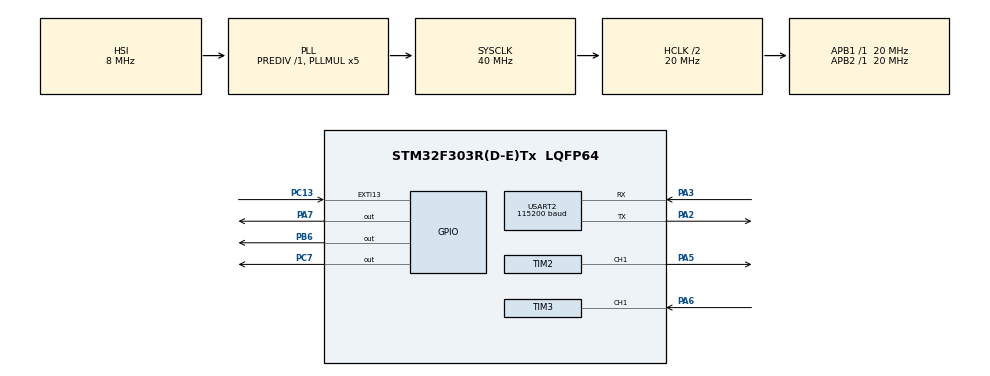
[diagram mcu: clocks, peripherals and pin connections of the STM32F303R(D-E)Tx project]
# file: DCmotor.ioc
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Mcu.Family=STM32F3
Mcu.Name=STM32F303R(D-E)Tx
Mcu.Package=LQFP64
NVIC.PriorityGroup=NVIC_PRIORITYGROUP_0
NVIC.TIM3_IRQn=true\:0\:0\:false\:false\:true\:true\:true
PA13.Mode=Serial_Wire
PA13.Signal=SYS_JTMS-SWDIO
PA14.Mode=Serial_Wire
PA14.Signal=SYS_JTCK-SWCLK
PA2.GPIO_Mode=GPIO_MODE_AF_PP
PA2.GPIO_ModeDefaultPP=GPIO_MODE_AF_PP
PA2.GPIO_PuPd=GPIO_NOPULL
PA2.GPIO_Speed=GPIO_SPEED_FREQ_HIGH
PA2.Mode=Asynchronous
PA2.Signal=USART2_TX
PA3.GPIO_Mode=GPIO_MODE_AF_PP
PA3.GPIO_ModeDefaultPP=GPIO_MODE_AF_PP
PA3.GPIO_PuPd=GPIO_NOPULL
PA3.GPIO_Speed=GPIO_SPEED_FREQ_HIGH
PA3.Mode=Asynchronous
PA3.Signal=USART2_RX
PA5.Signal=S_TIM2_CH1_ETR
PA6.Signal=S_TIM3_CH1
PA7.Signal=GPIO_Output
PB3.Signal=SYS_JTDO-TRACESWO
PB6.Signal=GPIO_Output
PC13.GPIO_ModeDefaultEXTI=GPIO_MODE_IT_RISING
PC13.GPIO_PuPd=GPIO_NOPULL
PC13.Signal=GPXTI13
PC14-OSC32_IN.Mode=LSE-External-Oscillator
PC14-OSC32_IN.Signal=RCC_OSC32_IN
PC15-OSC32_OUT.Mode=LSE-External-Oscillator
PC15-OSC32_OUT.Signal=RCC_OSC32_OUT
PC7.Signal=GPIO_Output
PF0-OSC_IN.Mode=HSE-External-Clock-Source
PF0-OSC_IN.Signal=RCC_OSC_IN
PF1-OSC_OUT.Signal=RCC_OSC_OUT
ProjectManager.HeapSize=0x200
ProjectManager.StackSize=0x400
ProjectManager.TargetToolchain=STM32CubeIDE
RCC.AHBCLKDivider=RCC_SYSCLK_DIV2
RCC.AHBFreq_Value=20000000
RCC.APB1Freq_Value=20000000
RCC.APB1TimFreq_Value=20000000
RCC.APB2Freq_Value=20000000
RCC.APB2TimFreq_Value=20000000
RCC.CortexFreq_Value=20000000
RCC.HCLKFreq_Value=20000000
RCC.HSE_VALUE=8000000
RCC.HSI_VALUE=8000000
RCC.PLLM=8
RCC.PLLMUL=RCC_PLL_MUL5
RCC.PLLN=336
RCC.PLLP=RCC_PLLP_DIV4
RCC.PLLQ=7
RCC.RCC_PLLsource_Clock_Source_FROM_HSE=RCC_HSE_PREDIV_DIV2
RCC.SYSCLKFreq_VALUE=40000000
RCC.SYSCLKSourceVirtual=RCC_SYSCLKSOURCE_PLLCLK
RCC.USBFreq_Value=40000000
SH.S_TIM2_CH1_ETR.0=TIM2_CH1,PWM Generation1 CH1
SH.S_TIM3_CH1.0=TIM3_CH1,Input_Capture1_from_TI1
TIM2.Channel-PWM\ Generation1\ CH1=TIM_CHANNEL_1
TIM2.Period=2000-1
TIM2.Prescaler=1-1
TIM2.Pulse-PWM\ Generation1\ CH1=1000
TIM3.Channel-Input_Capture1_from_TI1=TIM_CHANNEL_1
TIM3.Period=0xffff
TIM3.Prescaler=1-1
USART2.BaudRate=115200
USART2.VirtualMode-Asynchronous=VM_ASYNC
VP_TIM2_VS_ClockSourceINT.Mode=Internal
VP_TIM3_VS_ClockSourceINT.Mode=Internal
board=NUCLEO-F303RE

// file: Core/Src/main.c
/* USER CODE BEGIN Header */
/**
  ******************************************************************************
  * @file           : main.c
  * @brief          : Main program body
  ******************************************************************************
  * @attention
  *
  * <h2><center>&copy; Copyright (c) 2020 STMicroelectronics.
  * All rights reserved.</center></h2>
  *
  * This software component is licensed by ST under BSD 3-Clause license,
  * the "License"; You may not use this file except in compliance with the
  * License. You may obtain a copy of the License at:
  *                        opensource.org/licenses/BSD-3-Clause
  *
  ******************************************************************************
  */
/* USER CODE END Header */
#include "main.h"

TIM_HandleTypeDef htim2;
TIM_HandleTypeDef htim3;

UART_HandleTypeDef huart2;

/* USER CODE BEGIN PV */
float motorRPM = 0; //motor speed (RPM).
bool newRPM = false;
bool measure = false;
/* USER CODE END PV */

void SystemClock_Config(void);
static void MX_GPIO_Init(void);
static void MX_USART2_UART_Init(void);
static void MX_TIM2_Init(void);
static void MX_TIM3_Init(void);
/* USER CODE BEGIN PFP */
void PWMsetpulse(uint16_t pulse); //to change the duty cycle of the PWM signal.
float IAcontroller(float e_1); //IA controller.
float PIcontroller(float e_1); //PI controller.
/* USER CODE END PFP */

/* USER CODE BEGIN 0 */
void PWMsetpulse(uint16_t pulse) {
  TIM_OC_InitTypeDef sConfigOC = {0};

  sConfigOC.OCMode = TIM_OCMODE_PWM1;
  sConfigOC.Pulse = pulse;
  sConfigOC.OCPolarity = TIM_OCPOLARITY_HIGH;
  sConfigOC.OCFastMode = TIM_OCFAST_DISABLE;

  HAL_TIM_PWM_ConfigChannel(&htim2, &sConfigOC, TIM_CHANNEL_1);
  HAL_TIM_PWM_Start(&htim2, TIM_CHANNEL_1);
}

void HAL_TIM_IC_CaptureCallback(TIM_HandleTypeDef *htim) {
	static bool newvalue = false;
	uint16_t value1, value2, value;

	if (!measure)
		return;

	if (htim->Channel == HAL_TIM_ACTIVE_CHANNEL_1) { //if interrupt source is channel 1
		if (!newvalue) {
			value1 = HAL_TIM_ReadCapturedValue(htim, TIM_CHANNEL_1); //capture the first value
			newvalue = true;
		}
		else if (newvalue) {
			value2 = HAL_TIM_ReadCapturedValue(htim, TIM_CHANNEL_1); //capture second value
			if (value2 > value1) {
				value = value2 - value1; //calculate the difference
			}
			else if (value2 < value1) {
				value = ((htim->Init.Period - value1) + value2) + 1;
			}
//			else {
//				Error_Handler();
//			}
//			value1 = value2;
			newvalue = false;  //reset the first captured
			motorRPM = 0.15*HAL_RCC_GetPCLK1Freq()/value; //calculate frequency (RPM)
			newRPM = true;
		}
	}
}

float IAcontroller(float e_1) {
	static float e_ = 0;
	static float u_ = 0;
	float u_1;

	u_1 = u_ + 0.00525*(e_1 + e_);

	u_ = u_1;
	e_ = e_1;

	return u_1;
}

float PIcontroller(float e_1) {
	static float e_ = 0;
	static float u_ = 0;
	float u_1;

	u_1 = u_ + 0.02185*e_1 - 0.01615*e_;

	u_ = u_1;
	e_ = e_1;

	return u_1;
}
/* USER CODE END 0 */

int main(void)
{
  /* USER CODE BEGIN 1 */
	float refRPM = 150; //speed reference (set point).
	float uV;
	//uint8_t Ts = 3; //the sample rate (milliseconds) -> SYSTEM IDENTIFICATION
	uint8_t Ts = 30; //the sample rate (milliseconds) -> CONTROLLER
	uint32_t t0, t1; //variables to measure time.
	uint8_t *data2send;
	uint8_t msg[3];

  /* USER CODE END 1 */

  /* MCU Configuration--------------------------------------------------------*/

  /* Reset of all peripherals, Initializes the Flash interface and the Systick. */
  HAL_Init();

  /* Configure the system clock */
  SystemClock_Config();

  /* Initialize all configured peripherals */
  MX_GPIO_Init();
  MX_USART2_UART_Init();
  MX_TIM2_Init();
  MX_TIM3_Init();
  /* USER CODE BEGIN 2 */
  HAL_TIM_PWM_Start(&htim2, TIM_CHANNEL_1);
  HAL_TIM_IC_Start_IT(&htim3, TIM_CHANNEL_1);
  HAL_GPIO_WritePin(GPIOA, GPIO_PIN_7, false);
  HAL_GPIO_WritePin(GPIOB, GPIO_PIN_6, true);
  PWMsetpulse(333);
  /* USER CODE END 2 */

  /* Infinite loop */
  while (1)
  {

    /* USER CODE BEGIN 3 */
	  //SYSTEM IDENTIFICATION//
//	  HAL_GPIO_TogglePin(GPIOC, GPIO_PIN_7); //test pin, to measure sample time.
//	  t0 = HAL_GetTick(); //get current time in milliseconds.
//	  measure = true;
//	  while(!newRPM) {
//
//	  }
//	  measure = false;
//	  data2send = (uint8_t*) &motorRPM;
//	  HAL_UART_Transmit(&huart2, data2send, 4, HAL_MAX_DELAY); //1float = 4bytes.
//	  newRPM = false;
//	  t1 = HAL_GetTick(); //get current time in milliseconds.
//	  if((int32_t)(Ts-(t1-t0)) > 0)
//		  HAL_Delay(Ts-(t1-t0)-1);

	  //CONTROLLER//
	  HAL_GPIO_TogglePin(GPIOC, GPIO_PIN_7); //test pin, to measure sample time.
	  t0 = HAL_GetTick(); //get current time in milliseconds.
	  measure = true;
	  while(!newRPM) {

	  }
	  measure = false;
	  data2send = (uint8_t*) &motorRPM;
//	  HAL_UART_Receive(&huart2, msg, 3, HAL_MAX_DELAY);
//	  if (msg[0] == 'D' && msg[1] == 'C' && msg[2] == 'M')
//		  HAL_UART_Transmit(&huart2, data2send, 4, HAL_MAX_DELAY); //1float = 4bytes.
	  HAL_UART_Transmit(&huart2, data2send, 4, HAL_MAX_DELAY); //1float = 4bytes.
	  //uV = IAcontroller(refRPM - motorRPM)*166.667;
	  uV = PIcontroller(refRPM - motorRPM);
	  if(uV >= 2 && uV <= 12)
		  PWMsetpulse(uV*166.667);
	  else {
		  if(uV > 12)
			  PWMsetpulse(2000);
		  if(uV < 2)
			  PWMsetpulse(333);
	  }
	  newRPM = false;
	  t1 = HAL_GetTick(); //get current time in milliseconds.
	  if((int32_t)(Ts-(t1-t0)) > 0)
		  HAL_Delay(Ts-(t1-t0)-1);
  }
  /* USER CODE END 3 */
}

void SystemClock_Config(void)
{
  RCC_OscInitTypeDef RCC_OscInitStruct = {0};
  RCC_ClkInitTypeDef RCC_ClkInitStruct = {0};
  RCC_PeriphCLKInitTypeDef PeriphClkInit = {0};

  /** Initializes the RCC Oscillators according to the specified parameters
  * in the RCC_OscInitTypeDef structure.
  */
  RCC_OscInitStruct.OscillatorType = RCC_OSCILLATORTYPE_HSI;
  RCC_OscInitStruct.HSIState = RCC_HSI_ON;
  RCC_OscInitStruct.HSICalibrationValue = RCC_HSICALIBRATION_DEFAULT;
  RCC_OscInitStruct.PLL.PLLState = RCC_PLL_ON;
  RCC_OscInitStruct.PLL.PLLSource = RCC_PLLSOURCE_HSI;
  RCC_OscInitStruct.PLL.PLLMUL = RCC_PLL_MUL5;
  RCC_OscInitStruct.PLL.PREDIV = RCC_PREDIV_DIV1;
  if (HAL_RCC_OscConfig(&RCC_OscInitStruct) != HAL_OK)
  {
    Error_Handler();
  }
  /** Initializes the CPU, AHB and APB buses clocks
  */
  RCC_ClkInitStruct.ClockType = RCC_CLOCKTYPE_HCLK|RCC_CLOCKTYPE_SYSCLK
                              |RCC_CLOCKTYPE_PCLK1|RCC_CLOCKTYPE_PCLK2;
  RCC_ClkInitStruct.SYSCLKSource = RCC_SYSCLKSOURCE_PLLCLK;
  RCC_ClkInitStruct.AHBCLKDivider = RCC_SYSCLK_DIV2;
  RCC_ClkInitStruct.APB1CLKDivider = RCC_HCLK_DIV1;
  RCC_ClkInitStruct.APB2CLKDivider = RCC_HCLK_DIV1;

  if (HAL_RCC_ClockConfig(&RCC_ClkInitStruct, FLASH_LATENCY_0) != HAL_OK)
  {
    Error_Handler();
  }
  PeriphClkInit.PeriphClockSelection = RCC_PERIPHCLK_USART2|RCC_PERIPHCLK_TIM2
                              |RCC_PERIPHCLK_TIM34;
  PeriphClkInit.Usart2ClockSelection = RCC_USART2CLKSOURCE_PCLK1;
  PeriphClkInit.Tim2ClockSelection = RCC_TIM2CLK_HCLK;
  PeriphClkInit.Tim34ClockSelection = RCC_TIM34CLK_HCLK;
  if (HAL_RCCEx_PeriphCLKConfig(&PeriphClkInit) != HAL_OK)
  {
    Error_Handler();
  }
}

static void MX_TIM2_Init(void)
{

  TIM_ClockConfigTypeDef sClockSourceConfig = {0};
  TIM_MasterConfigTypeDef sMasterConfig = {0};
  TIM_OC_InitTypeDef sConfigOC = {0};

  htim2.Instance = TIM2;
  htim2.Init.Prescaler = 1-1;
  htim2.Init.CounterMode = TIM_COUNTERMODE_UP;
  htim2.Init.Period = 2000-1;
  htim2.Init.ClockDivision = TIM_CLOCKDIVISION_DIV1;
  htim2.Init.AutoReloadPreload = TIM_AUTORELOAD_PRELOAD_DISABLE;
  if (HAL_TIM_Base_Init(&htim2) != HAL_OK)
  {
    Error_Handler();
  }
  sClockSourceConfig.ClockSource = TIM_CLOCKSOURCE_INTERNAL;
  if (HAL_TIM_ConfigClockSource(&htim2, &sClockSourceConfig) != HAL_OK)
  {
    Error_Handler();
  }
  if (HAL_TIM_PWM_Init(&htim2) != HAL_OK)
  {
    Error_Handler();
  }
  sMasterConfig.MasterOutputTrigger = TIM_TRGO_RESET;
  sMasterConfig.MasterSlaveMode = TIM_MASTERSLAVEMODE_DISABLE;
  if (HAL_TIMEx_MasterConfigSynchronization(&htim2, &sMasterConfig) != HAL_OK)
  {
    Error_Handler();
  }
  sConfigOC.OCMode = TIM_OCMODE_PWM1;
  sConfigOC.Pulse = 1000;
  sConfigOC.OCPolarity = TIM_OCPOLARITY_HIGH;
  sConfigOC.OCFastMode = TIM_OCFAST_DISABLE;
  if (HAL_TIM_PWM_ConfigChannel(&htim2, &sConfigOC, TIM_CHANNEL_1) != HAL_OK)
  {
    Error_Handler();
  }
  HAL_TIM_MspPostInit(&htim2);

}

static void MX_TIM3_Init(void)
{

  TIM_ClockConfigTypeDef sClockSourceConfig = {0};
  TIM_MasterConfigTypeDef sMasterConfig = {0};
  TIM_IC_InitTypeDef sConfigIC = {0};

  htim3.Instance = TIM3;
  htim3.Init.Prescaler = 1-1;
  htim3.Init.CounterMode = TIM_COUNTERMODE_UP;
  htim3.Init.Period = 0xffff;
  htim3.Init.ClockDivision = TIM_CLOCKDIVISION_DIV1;
  htim3.Init.AutoReloadPreload = TIM_AUTORELOAD_PRELOAD_DISABLE;
  if (HAL_TIM_Base_Init(&htim3) != HAL_OK)
  {
    Error_Handler();
  }
  sClockSourceConfig.ClockSource = TIM_CLOCKSOURCE_INTERNAL;
  if (HAL_TIM_ConfigClockSource(&htim3, &sClockSourceConfig) != HAL_OK)
  {
    Error_Handler();
  }
  if (HAL_TIM_IC_Init(&htim3) != HAL_OK)
  {
    Error_Handler();
  }
  sMasterConfig.MasterOutputTrigger = TIM_TRGO_RESET;
  sMasterConfig.MasterSlaveMode = TIM_MASTERSLAVEMODE_DISABLE;
  if (HAL_TIMEx_MasterConfigSynchronization(&htim3, &sMasterConfig) != HAL_OK)
  {
    Error_Handler();
  }
  sConfigIC.ICPolarity = TIM_INPUTCHANNELPOLARITY_RISING;
  sConfigIC.ICSelection = TIM_ICSELECTION_DIRECTTI;
  sConfigIC.ICPrescaler = TIM_ICPSC_DIV1;
  sConfigIC.ICFilter = 0;
  if (HAL_TIM_IC_ConfigChannel(&htim3, &sConfigIC, TIM_CHANNEL_1) != HAL_OK)
  {
    Error_Handler();
  }

}

static void MX_USART2_UART_Init(void)
{

  huart2.Instance = USART2;
  huart2.Init.BaudRate = 115200;
  huart2.Init.WordLength = UART_WORDLENGTH_8B;
  huart2.Init.StopBits = UART_STOPBITS_1;
  huart2.Init.Parity = UART_PARITY_NONE;
  huart2.Init.Mode = UART_MODE_TX_RX;
  huart2.Init.HwFlowCtl = UART_HWCONTROL_NONE;
  huart2.Init.OverSampling = UART_OVERSAMPLING_16;
  huart2.Init.OneBitSampling = UART_ONE_BIT_SAMPLE_DISABLE;
  huart2.AdvancedInit.AdvFeatureInit = UART_ADVFEATURE_NO_INIT;
  if (HAL_UART_Init(&huart2) != HAL_OK)
  {
    Error_Handler();
  }

}

static void MX_GPIO_Init(void)
{
  GPIO_InitTypeDef GPIO_InitStruct = {0};

  /* GPIO Ports Clock Enable */
  __HAL_RCC_GPIOC_CLK_ENABLE();
  __HAL_RCC_GPIOF_CLK_ENABLE();
  __HAL_RCC_GPIOA_CLK_ENABLE();
  __HAL_RCC_GPIOB_CLK_ENABLE();

  /*Configure GPIO pin Output Level */
  HAL_GPIO_WritePin(GPIOA, GPIO_PIN_7, GPIO_PIN_RESET);

  /*Configure GPIO pin Output Level */
  HAL_GPIO_WritePin(GPIOC, GPIO_PIN_7, GPIO_PIN_RESET);

  /*Configure GPIO pin Output Level */
  HAL_GPIO_WritePin(GPIOB, GPIO_PIN_6, GPIO_PIN_RESET);

  /*Configure GPIO pin : PC13 */
  GPIO_InitStruct.Pin = GPIO_PIN_13;
  GPIO_InitStruct.Mode = GPIO_MODE_IT_RISING;
  GPIO_InitStruct.Pull = GPIO_NOPULL;
  HAL_GPIO_Init(GPIOC, &GPIO_InitStruct);

  /*Configure GPIO pin : PA7 */
  GPIO_InitStruct.Pin = GPIO_PIN_7;
  GPIO_InitStruct.Mode = GPIO_MODE_OUTPUT_PP;
  GPIO_InitStruct.Pull = GPIO_NOPULL;
  GPIO_InitStruct.Speed = GPIO_SPEED_FREQ_LOW;
  HAL_GPIO_Init(GPIOA, &GPIO_InitStruct);

  /*Configure GPIO pin : PC7 */
  GPIO_InitStruct.Pin = GPIO_PIN_7;
  GPIO_InitStruct.Mode = GPIO_MODE_OUTPUT_PP;
  GPIO_InitStruct.Pull = GPIO_NOPULL;
  GPIO_InitStruct.Speed = GPIO_SPEED_FREQ_LOW;
  HAL_GPIO_Init(GPIOC, &GPIO_InitStruct);

  /*Configure GPIO pin : PB6 */
  GPIO_InitStruct.Pin = GPIO_PIN_6;
  GPIO_InitStruct.Mode = GPIO_MODE_OUTPUT_PP;
  GPIO_InitStruct.Pull = GPIO_NOPULL;
  GPIO_InitStruct.Speed = GPIO_SPEED_FREQ_LOW;
  HAL_GPIO_Init(GPIOB, &GPIO_InitStruct);

}

void Error_Handler(void)
{
}

/************************ (C) COPYRIGHT STMicroelectronics *****END OF FILE****/
